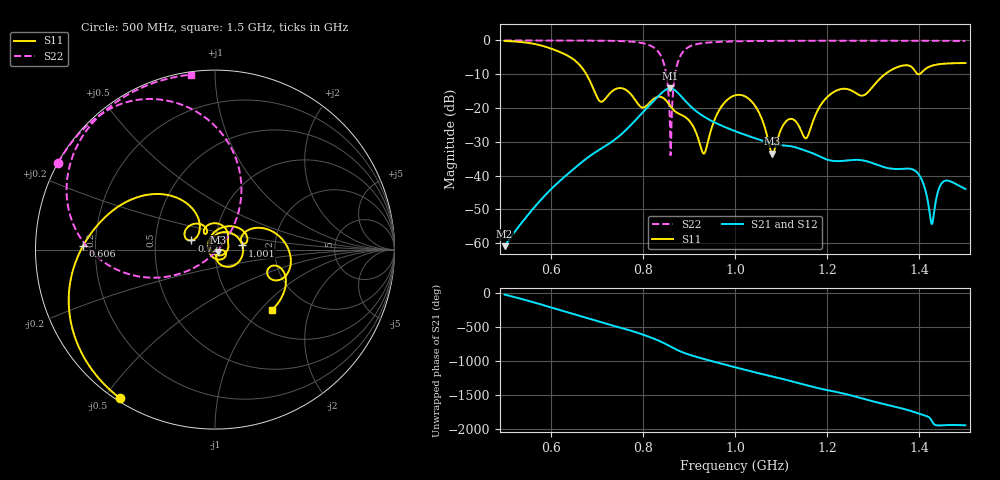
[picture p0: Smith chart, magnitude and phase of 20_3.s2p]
! TOUCHSTONE file generated by CST MICROWAVE STUDIO
! Date and time: Fri Oct  2 16:38:09 2020
! Project name: Scenario_1_Free_Space_out_of_line.cst
! Parameters = {Lambda=346.42; Step_1=17.321; dy1=18.161; dx1=520; L_HA=400; MT=2.54; Rad_Dielectric=30; Rad_Lower=7.3; Rad_Upper=30; a_HA=580; a_WG=246; b_HA=500; b_WG=121; c_HA=0; c_WG=187; d_feed=85; h_feed=15; h_lower=18; h_upper=40}
! Header version: 2018
! Port assignment regex: !\s*Touchstone port\s*([0-9]+)\s*=\s*(CST MWS port|CST DS port)\s*([0-9]+|Zmin|Zmax)\s*\(\"(.*)\"\)(\s*mode\s*([0-9]+))?.*
! Touchstone port assignment:
! Touchstone port 1 = CST MWS port 1 ("")
! Touchstone port 2 = CST MWS port 2 ("")
# GHz S DB R 50
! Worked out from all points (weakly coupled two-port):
!   1003 points, 500 MHz to 1.5 GHz, reference 50 ohm
!   highest |S21| = -14.18 dB at 859 MHz (marker M1); lowest = -60.9 dB at 500 MHz (marker M2)
!   lowest |S11| = -33.5 dB at 1.081 GHz (marker M3), VSWR 1.04, Z = 51.6 - j1.46 ohm
!   |S11| at or under -10 dB: 677.4 MHz to 1.326 GHz (648.1 MHz wide, 64.7 % of centre); 1.396935 GHz to 1.400242 GHz (3.307 MHz wide, 0.236 % of centre)
!   |S22| runs from -34.0 to 0.0 dB; largest |S21 - S12| = 0.00012
!   S11 on the Smith chart (normalised r, x): 500 MHz: 0.01, -0.55; 606 MHz: 0.15, +0.01; 720 MHz: 0.76, +0.08; 1.001 GHz: 1.36, +0.06; 1.5 GHz: 1.35, -1.16
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0.5  -0.15 -122.7  -60.89 -17.9  -60.89 -17.9  -0.01 151.1
0.606  -2.67 178.4  -43.34 142.3  -43.34 142.3  -0.02 143.6
0.667  -7.92 130.8  -36.09 20.3  -36.09 20.3  -0.04 138.3
0.72  -17.03 158.7  -31.14 -86.7  -31.14 -86.7  -0.10 132.2
0.834  -16.66 94.4  -16.44 24.9  -16.44 24.9  -3.43 88.8
0.849  -17.57 64.2  -14.66 -22.9  -14.66 -22.9  -8.67 66.4
0.859  -19.29 47.7  -14.18 -58.8  -14.18 -58.8  -25.65 35.9
0.881  -21.87 23.9  -16.22 -132.8  -16.22 -132.8  -4.71 -170.3
0.932  -33.52 -140.2  -22.49 115.4  -22.49 115.4  -0.77 153.9
1  -16.26 10.4  -26.85 -7.2  -26.85 -7.2  -0.27 140.2
1.001  -16.22 8.6  -26.90 -8.9  -26.90 -8.9  -0.27 140.1
1.045  -19.65 -62.6  -29.02 -84.7  -29.02 -84.7  -0.17 134.9
1.081  -33.54 -42.1  -30.57 -143.6  -30.57 -143.6  -0.14 131.3
1.114  -23.57 -23.1  -31.18 162.4  -31.18 162.4  -0.12 128.4
1.167  -24.81 128.2  -33.31 68.5  -33.32 68.5  -0.10 124.1
1.211  -15.54 50.2  -35.62 1.6  -35.62 1.6  -0.09 120.7
1.28  -16.21 21.4  -35.58 -113.0  -35.58 -113.0  -0.09 115.5
1.334  -9.18 15.4  -37.84 153.6  -37.84 153.6  -0.09 111.4
1.396  -9.93 -24.3  -39.18 38.7  -39.18 38.7  -0.10 106.5
1.427  -7.51 -21.2  -54.36 -76.5  -54.03 -77.6  -0.11 104.0
1.451  -6.92 -31.4  -41.91 -140.5  -41.92 -139.8  -0.12 102.1
1.5  -6.69 -46.9  -43.98 -140.8  -43.98 -140.8  -0.14 97.8
